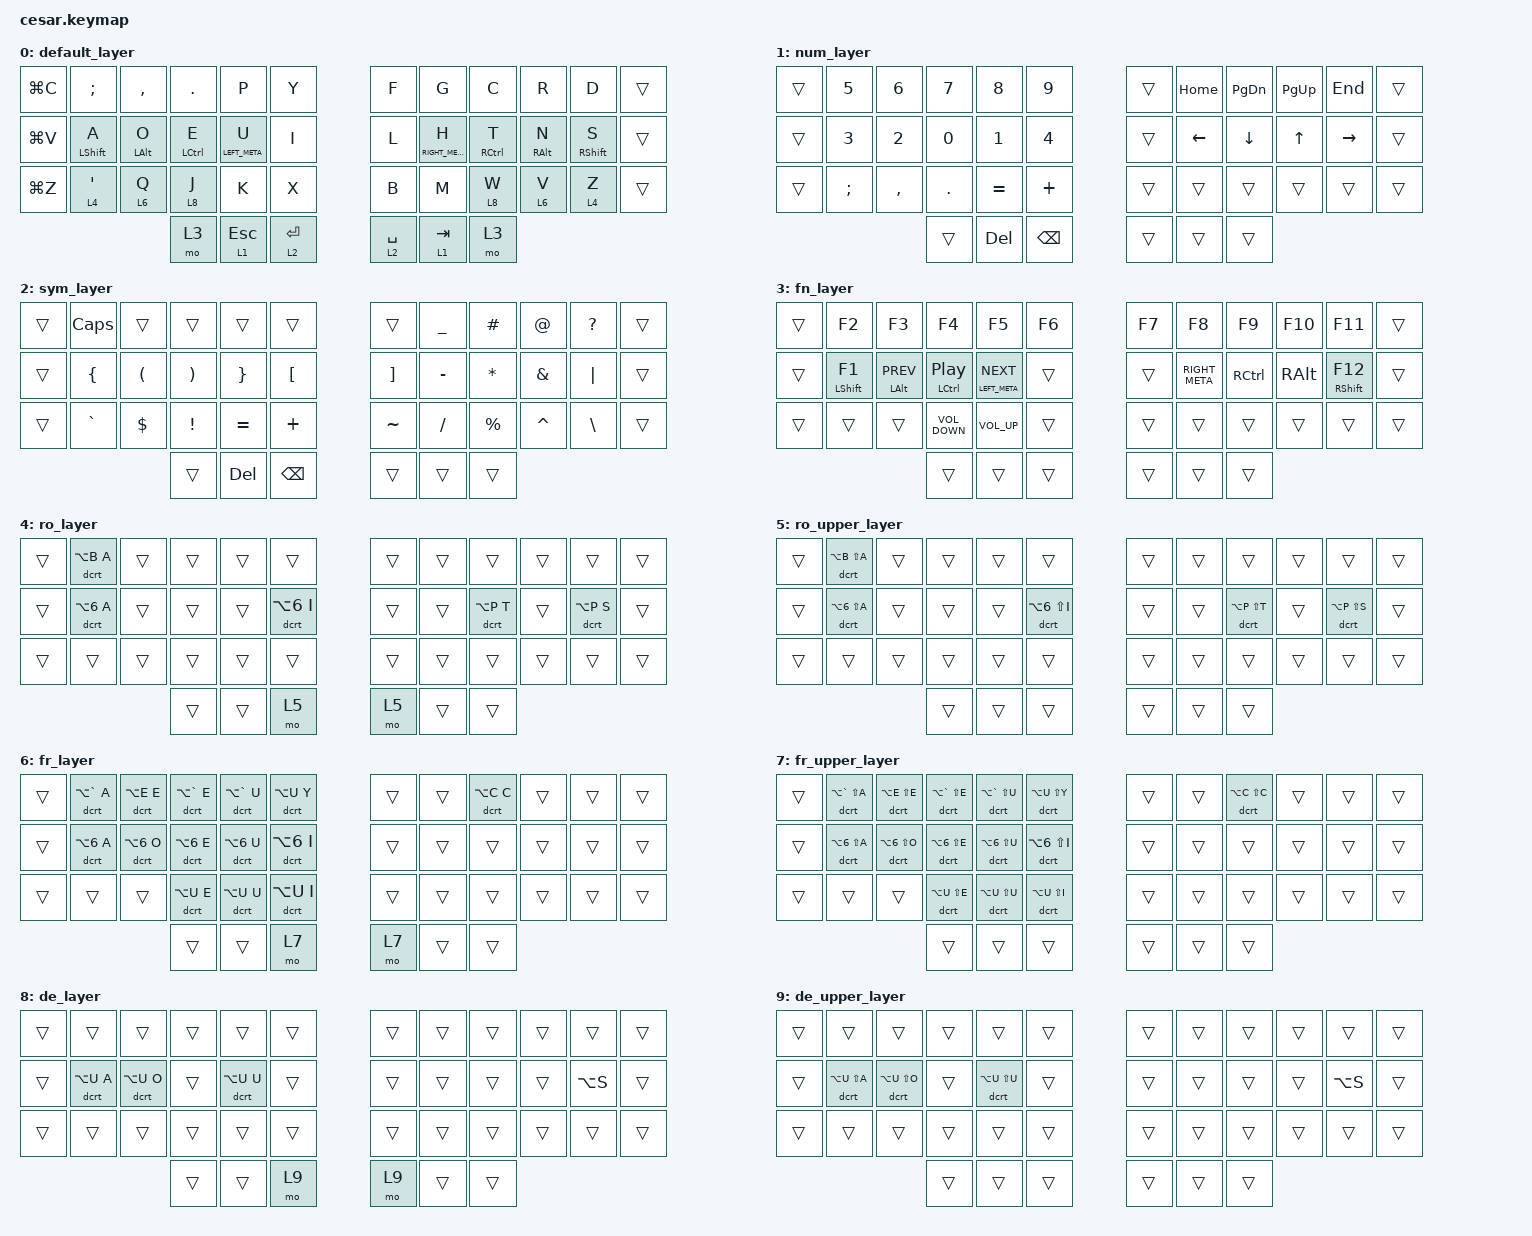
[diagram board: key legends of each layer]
/*
 * Copyright (c) 2020 The ZMK Contributors
 *
 * SPDX-License-Identifier: MIT
 */

#include <behaviors.dtsi>
#include <dt-bindings/zmk/keys.h>

&lt {
    flavor = "balanced";
    hold-trigger-on-release;
    hold-trigger-key-positions = <36 37 38>;
    tapping-term-ms = <280>;
    quick-tap-ms = <175>;
    require-prior-idle-ms = <150>;
};

/ {
    behaviors {
        hrml: home_row_mod_left {
            compatible = "zmk,behavior-hold-tap";
            label = "HRML";
            bindings = <&kp>, <&kp>;

            #binding-cells = <2>;
            flavor = "balanced";
            tapping-term-ms = <280>;
            quick-tap-ms = <175>;
            require-prior-idle-ms = <150>;
            hold-trigger-key-positions = <6 7 8 9 10 11 18 19 20 21 22 23 30 31 32 33 34 35 39 40 41>;
            hold-trigger-on-release;
        };

        hrmr: home_row_mod_right {
            compatible = "zmk,behavior-hold-tap";
            label = "HRMR";
            bindings = <&kp>, <&kp>;

            #binding-cells = <2>;
            flavor = "balanced";
            tapping-term-ms = <280>;
            quick-tap-ms = <175>;
            require-prior-idle-ms = <150>;
            hold-trigger-key-positions = <0 1 2 3 4 5 12 13 14 15 16 17 24 25 26 27 28 29 36 37 38>;
            hold-trigger-on-release;
        };

        syml: syml {
            compatible = "zmk,behavior-hold-tap";
            label = "SYML";
            bindings = <&mo>, <&kp>;

            #binding-cells = <2>;
            flavor = "balanced";
            tapping-term-ms = <280>;
            quick-tap-ms = <175>;
            require-prior-idle-ms = <150>;
            hold-trigger-key-positions = <6 7 8 9 10 11 18 19 20 21 22 23 30 31 32 33 34 35 39 40 41>;
            hold-trigger-on-release;
        };

        symr: symr {
            compatible = "zmk,behavior-hold-tap";
            label = "SYMR";
            bindings = <&mo>, <&kp>;

            #binding-cells = <2>;
            flavor = "balanced";
            tapping-term-ms = <280>;
            quick-tap-ms = <175>;
            require-prior-idle-ms = <150>;
            hold-trigger-key-positions = <0 1 2 3 4 5 12 13 14 15 16 17 24 25 26 27 28 29 36 37 38>;
            hold-trigger-on-release;
        };

        diac_hld: diac_hld {
            compatible = "zmk,behavior-hold-tap";
            #binding-cells = <2>;
            bindings = <&mo>, <&kp>;
            flavor = "balanced";
            tapping-term-ms = <280>;
        };
    };

    macros {
        dcrt: dcrt {
            compatible = "zmk,behavior-macro-two-param";
            #binding-cells = <2>;
            wait-ms = <40>;
            tap-ms = <40>;
            bindings = <&macro_param_1to1>, <&kp MACRO_PLACEHOLDER>,
                       <&macro_param_2to1>, <&kp MACRO_PLACEHOLDER>;
        };
    };

    combos { compatible = "zmk,combos"; };

    keymap {
        compatible = "zmk,keymap";

        default_layer {
            bindings = <
&kp LG(C)  &kp SEMI            &kp COMMA         &kp DOT               &kp P              &kp Y            &kp F          &kp G               &kp C                  &kp R              &kp D                &trans
&kp LG(V)  &hrml LEFT_SHIFT A  &hrml LEFT_ALT O  &hrml LEFT_CONTROL E  &hrml LEFT_META U  &kp I            &kp L          &hrmr RIGHT_META H  &hrmr RIGHT_CONTROL T  &hrmr RIGHT_ALT N  &hrmr RIGHT_SHIFT S  &trans
&kp LG(Z)  &diac_hld 4 SQT     &diac_hld 6 Q     &diac_hld 8 J         &kp K              &kp X            &kp B          &kp M               &diac_hld 8 W          &diac_hld 6 V      &diac_hld 4 Z        &trans
                                                 &mo 3                 &syml 1 ESCAPE     &syml 2 ENTER    &symr 2 SPACE  &symr 1 TAB         &mo 3
            >;
        };

        num_layer {
            bindings = <
&trans  &kp N5    &kp N6     &kp N7   &kp N8      &kp N9           &trans  &kp HOME        &kp PAGE_DOWN   &kp PAGE_UP   &kp END          &trans
&trans  &kp N3    &kp N2     &kp N0   &kp N1      &kp N4           &trans  &kp LEFT_ARROW  &kp DOWN_ARROW  &kp UP_ARROW  &kp RIGHT_ARROW  &trans
&trans  &kp SEMI  &kp COMMA  &kp DOT  &kp EQUAL   &kp PLUS         &trans  &trans          &trans          &trans        &trans           &trans
                        &trans  &kp DELETE  &kp BACKSPACE    &trans     &trans          &trans
            >;
        };

        sym_layer {
            bindings = <
&trans  &kp CLCK        &trans                &trans                 &trans           &trans              &trans             &kp UNDER  &kp POUND     &kp AT     &kp QUESTION   &trans
&trans  &kp LEFT_BRACE  &kp LEFT_PARENTHESIS  &kp RIGHT_PARENTHESIS  &kp RIGHT_BRACE  &kp LEFT_BRACKET    &kp RIGHT_BRACKET  &kp MINUS  &kp ASTERISK  &kp AMPS   &kp PIPE       &trans
&trans  &kp GRAVE       &kp DOLLAR            &kp EXCL               &kp EQUAL        &kp PLUS            &kp TILDE          &kp SLASH  &kp PERCENT   &kp CARET  &kp BACKSLASH  &trans
                                              &trans                 &kp DELETE       &kp BACKSPACE       &trans             &trans     &trans
            >;
        };

        fn_layer {
            bindings = <
&trans  &kp F2               &kp F3                 &kp F4                           &kp F5                  &kp F6    &kp F7  &kp F8          &kp F9             &kp F10        &kp F11                &trans
&trans  &hrml LEFT_SHIFT F1  &hrml LEFT_ALT C_PREV  &hrml LEFT_CONTROL C_PLAY_PAUSE  &hrml LEFT_META C_NEXT  &trans    &trans  &kp RIGHT_META  &kp RIGHT_CONTROL  &kp RIGHT_ALT  &hrmr RIGHT_SHIFT F12  &trans
&trans  &trans               &trans                 &kp C_VOLUME_DOWN                &kp C_VOLUME_UP         &trans    &trans  &trans          &trans             &trans         &trans                 &trans
                                                    &trans                           &trans                  &trans    &trans  &trans          &trans
            >;
        };

        ro_layer {
            bindings = <
&trans  &dcrt LA(B) A    &trans    &trans   &trans   &trans            &trans  &trans     &trans         &trans            &trans         &trans
&trans  &dcrt LA(N6) A   &trans    &trans   &trans   &dcrt LA(N6) I    &trans  &trans     &dcrt LA(P) T  &trans            &dcrt LA(P) S  &trans
&trans  &trans           &trans    &trans   &trans   &trans            &trans  &trans     &trans         &trans            &trans         &trans
                                   &trans   &trans   &mo 5             &mo 5   &trans     &trans
            >;
        };

        ro_upper_layer {
            bindings = <
&trans  &dcrt LA(B) LS(A)   &trans    &trans   &trans    &trans              &trans  &trans    &trans             &trans            &trans             &trans
&trans  &dcrt LA(N6) LS(A)  &trans    &trans   &trans    &dcrt LA(N6) LS(I)  &trans  &trans    &dcrt LA(P) LS(T)  &trans            &dcrt LA(P) LS(S)  &trans
&trans  &trans              &trans    &trans   &trans    &trans              &trans  &trans    &trans             &trans            &trans             &trans
                                      &trans   &trans    &trans              &trans  &trans    &trans
            >;
        };

        fr_layer {
            bindings = <
&trans  &dcrt LA(GRAVE) A &dcrt LA(E) E  &dcrt LA(GRAVE) E  &dcrt LA(GRAVE) U  &dcrt LA(U) Y     &trans  &trans     &dcrt LA(C) C  &trans            &trans         &trans
&trans  &dcrt LA(N6) A    &dcrt LA(N6) O &dcrt LA(N6) E     &dcrt LA(N6) U     &dcrt LA(N6) I    &trans  &trans     &trans         &trans            &trans         &trans
&trans  &trans            &trans         &dcrt LA(U) E      &dcrt LA(U) U      &dcrt LA(U) I     &trans  &trans     &trans         &trans            &trans         &trans
                                         &trans             &trans             &mo 7             &mo 7   &trans     &trans
            >;
        };

        fr_upper_layer {
            bindings = <
&trans  &dcrt LA(GRAVE) LS(A)  &dcrt LA(E) LS(E)  &dcrt LA(GRAVE) LS(E)  &dcrt LA(GRAVE) LS(U)  &dcrt LA(U) LS(Y)     &trans  &trans     &dcrt LA(C) LS(C)  &trans            &trans         &trans
&trans  &dcrt LA(N6) LS(A)     &dcrt LA(N6) LS(O) &dcrt LA(N6) LS(E)     &dcrt LA(N6) LS(U)     &dcrt LA(N6) LS(I)    &trans  &trans     &trans             &trans            &trans         &trans
&trans  &trans                 &trans             &dcrt LA(U) LS(E)      &dcrt LA(U) LS(U)      &dcrt LA(U) LS(I)     &trans  &trans     &trans             &trans            &trans         &trans
                                                  &trans                 &trans                 &trans                &trans  &trans     &trans
            >;
        };

        de_layer {
            bindings = <
&trans  &trans            &trans         &trans             &trans             &trans            &trans  &trans     &trans         &trans            &trans         &trans
&trans  &dcrt LA(U) A     &dcrt LA(U) O  &trans             &dcrt LA(U) U      &trans            &trans  &trans     &trans         &trans            &kp LA(S)      &trans
&trans  &trans            &trans         &trans             &trans             &trans            &trans  &trans     &trans         &trans            &trans         &trans
                                         &trans             &trans             &mo 9             &mo 9   &trans     &trans
            >;
        };

        de_upper_layer {
            bindings = <
&trans  &trans            &trans             &trans             &trans             &trans            &trans  &trans     &trans         &trans            &trans         &trans
&trans  &dcrt LA(U) LS(A) &dcrt LA(U) LS(O)  &trans             &dcrt LA(U) LS(U)  &trans            &trans  &trans     &trans         &trans            &kp LA(S)      &trans
&trans  &trans            &trans             &trans             &trans             &trans            &trans  &trans     &trans         &trans            &trans         &trans
                                             &trans             &trans             &trans            &trans  &trans     &trans
            >;
        };
    };
};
